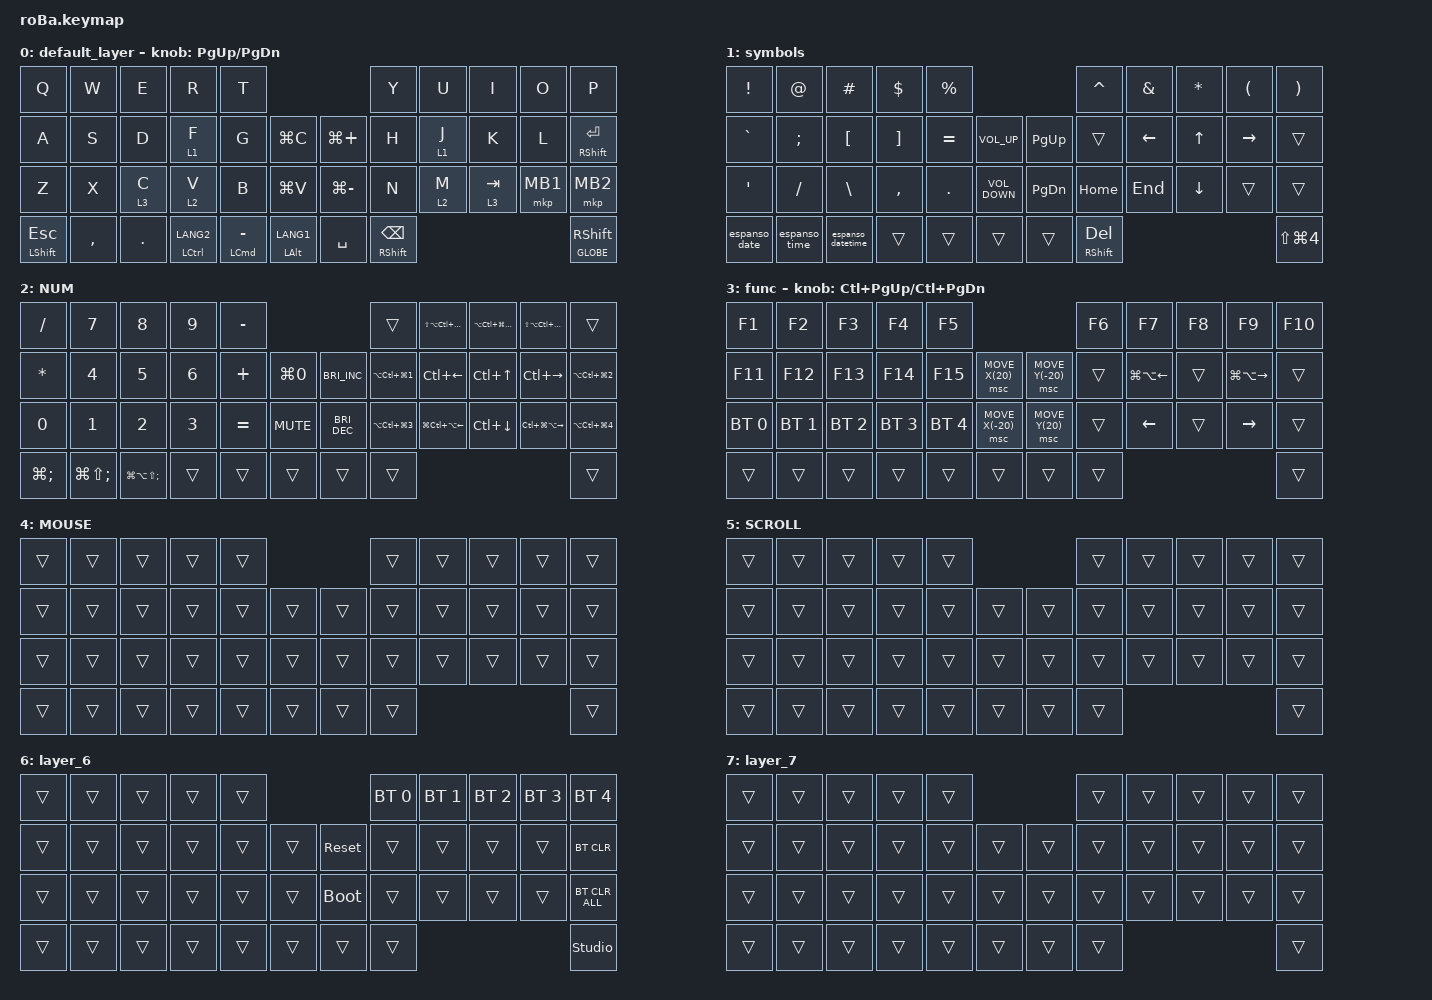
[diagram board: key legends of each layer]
#include <behaviors.dtsi>
#include <dt-bindings/zmk/bt.h>
#include <dt-bindings/zmk/keys.h>
#include <dt-bindings/zmk/pointing.h>

&mt {
    flavor = "balanced";
    quick-tap-ms = <0>;
};

&trackball {
    // automouse-layer = <4>;

    scroll-layers = <3>;

    // arrows {
    //     layers = <3>;
    //     bindings =
    //         <&kp RIGHT_ARROW>,
    //         <&kp LEFT_ARROW>,
    //         <&kp UP_ARROW>,
    //         <&kp DOWN_ARROW>;
    //     tick = <10>;
    //     wait-ms = <5>;
    //     tap-ms = <5>;
    // };
};

/ {
    combos {
        compatible = "zmk,combos";

        reset_selected_bt {
            bindings = <&bt BT_CLR>;
            key-positions = <34 42>;
        };

        reset_size {
            bindings = <&kp LG(NUMBER_0)>;
            key-positions = <16 28>;
        };

        Layer_6 {
            bindings = <&mo 6>;
            key-positions = <34 35 36>;
        };

        Cut {
            bindings = <&kp LG(X)>;
            key-positions = <15 27>;
        };
    };

    macros {
        to_layer_0: to_layer_0 {
            compatible = "zmk,behavior-macro-one-param";
            #binding-cells = <1>;
            bindings = <&to 0 &macro_param_1to1 &kp MACRO_PLACEHOLDER>;
            label = "TO_LAYER_0";
        };

        espanso_date: espanso_date {
            compatible = "zmk,behavior-macro";
            #binding-cells = <0>;
            bindings = <&kp SEMI &kp D &kp SPACE>;
            label = "ESPANSO_DATE";
        };

        espanso_time: espanso_time {
            compatible = "zmk,behavior-macro";
            #binding-cells = <0>;
            bindings = <&none &kp SEMI &kp T &kp SPACE>;
            label = "ESPANSO_TIME";
        };

        espanso_datetime: espanso_datetime {
            compatible = "zmk,behavior-macro";
            #binding-cells = <0>;
            bindings = <&none &kp SEMI &kp D &kp T &kp SPACE>;
            label = "ESPANSO_DATETIME";
        };
    };

    behaviors {
        lt_to_layer_0: lt_to_layer_0 {
            compatible = "zmk,behavior-hold-tap";
            label = "LAYER_TAP_TO_0";
            bindings = <&mo>, <&to_layer_0>;

            #binding-cells = <2>;
            tapping-term-ms = <200>;
        };
    };

    keymap {
        compatible = "zmk,keymap";

        default_layer {
            bindings = <
&kp Q                  &kp W      &kp E       &kp R                   &kp T                                                          &kp Y                      &kp U    &kp I      &kp O     &kp P
&kp A                  &kp S      &kp D       &lt 1 F                 &kp G                   &kp LG(C)               &kp LG(PLUS)   &kp H                      &lt 1 J  &kp K      &kp L     &mt RIGHT_SHIFT ENTER
&kp Z                  &kp X      &lt 3 C     &lt 2 V                 &kp B                   &kp LG(V)               &kp LG(MINUS)  &kp N                      &lt 2 M  &lt 3 TAB  &mkp MB1  &mkp MB2
&mt LEFT_SHIFT ESCAPE  &kp COMMA  &kp PERIOD  &mt LEFT_CONTROL LANG2  &mt LEFT_COMMAND MINUS  &mt LEFT_ALT LANG1      &kp SPACE      &mt RIGHT_SHIFT BACKSPACE                                &mt GLOBE RIGHT_SHIFT
            >;

            sensor-bindings = <&inc_dec_kp PG_UP PAGE_DOWN>;
        };

        symbols {
            bindings = <
&kp EXCLAMATION  &kp AT_SIGN    &kp HASH           &kp DOLLAR         &kp PERCENT                                        &kp CARET               &kp AMPERSAND   &kp ASTERISK    &kp LEFT_PARENTHESIS  &kp RIGHT_PARENTHESIS
&kp GRAVE        &kp SEMICOLON  &kp LEFT_BRACKET   &kp RIGHT_BRACKET  &kp EQUAL    &kp K_VOLUME_UP        &kp PAGE_UP    &trans                  &kp LEFT_ARROW  &kp UP_ARROW    &kp RIGHT_ARROW       &trans
&kp SQT          &kp SLASH      &kp BACKSLASH      &kp COMMA          &kp PERIOD   &kp K_VOLUME_DOWN      &kp PAGE_DOWN  &kp HOME                &kp END         &kp DOWN_ARROW  &trans                &trans
&espanso_date    &espanso_time  &espanso_datetime  &trans             &trans       &trans                 &trans         &mt RIGHT_SHIFT DELETE                                                        &kp LS(LG(NUMBER_4))
            >;
        };

        NUM {
            bindings = <
&kp SLASH          &kp NUMBER_7      &kp NUMBER_8          &kp NUMBER_9  &kp MINUS                                              &trans                    &kp LS(LA(LC(LG(LEFT))))  &kp LA(LC(LG(LS(UP))))  &kp LS(LA(LC(LG(RIGHT))))  &trans
&kp ASTERISK       &kp NUMBER_4      &kp NUMBER_5          &kp NUMBER_6  &kp PLUS   &kp LG(NUMBER_0)      &kp C_BRIGHTNESS_INC  &kp LA(LC(LG(NUMBER_1)))  &kp LC(LEFT_ARROW)        &kp LC(UP_ARROW)        &kp LC(RIGHT_ARROW)        &kp LA(LC(LG(NUMBER_2)))
&kp NUMBER_0       &kp NUMBER_1      &kp NUMBER_2          &kp NUMBER_3  &kp EQUAL  &kp C_MUTE            &kp C_BRIGHTNESS_DEC  &kp LA(LC(LG(NUMBER_3)))  &kp LG(LC(LA(LEFT)))      &kp LC(DOWN_ARROW)      &kp LC(LG(LA(RIGHT)))      &kp LA(LC(LG(NUMBER_4)))
&kp LG(SEMICOLON)  &kp LG(LS(SEMI))  &kp LG(LA(LS(SEMI)))  &trans        &trans     &trans                &trans                &trans                                                                                                 &trans
            >;
        };

        func {
            bindings = <
&kp F1        &kp F2        &kp F3        &kp F4        &kp F5                                                &kp F6  &kp F7                  &kp F8  &kp F9                   &kp F10
&kp F11       &kp F12       &kp F13       &kp F14       &kp F15       &msc MOVE_X(20)       &msc MOVE_Y(-20)  &trans  &kp LG(LA(LEFT_ARROW))  &trans  &kp LG(LA(RIGHT_ARROW))  &trans
&bt BT_SEL 0  &bt BT_SEL 1  &bt BT_SEL 2  &bt BT_SEL 3  &bt BT_SEL 4  &msc MOVE_X(-20)      &msc MOVE_Y(20)   &trans  &kp LEFT_ARROW          &trans  &kp RIGHT                &trans
&trans        &trans        &trans        &trans        &trans        &trans                &trans            &trans                                                           &trans
            >;

            sensor-bindings = <&inc_dec_kp LC(PAGE_UP) LC(PAGE_DOWN)>;
        };

        MOUSE {
            bindings = <
&trans  &trans  &trans  &trans  &trans                      &trans  &trans  &trans  &trans  &trans
&trans  &trans  &trans  &trans  &trans  &trans      &trans  &trans  &trans  &trans  &trans  &trans
&trans  &trans  &trans  &trans  &trans  &trans      &trans  &trans  &trans  &trans  &trans  &trans
&trans  &trans  &trans  &trans  &trans  &trans      &trans  &trans                          &trans
            >;
        };

        SCROLL {
            bindings = <
&trans  &trans  &trans  &trans  &trans                      &trans  &trans  &trans  &trans  &trans
&trans  &trans  &trans  &trans  &trans  &trans      &trans  &trans  &trans  &trans  &trans  &trans
&trans  &trans  &trans  &trans  &trans  &trans      &trans  &trans  &trans  &trans  &trans  &trans
&trans  &trans  &trans  &trans  &trans  &trans      &trans  &trans                          &trans
            >;
        };

        layer_6 {
            bindings = <
&trans  &trans  &trans  &trans  &trans                           &bt BT_SEL 0  &bt BT_SEL 1  &bt BT_SEL 2  &bt BT_SEL 3  &bt BT_SEL 4
&trans  &trans  &trans  &trans  &trans  &trans      &sys_reset   &trans        &trans        &trans        &trans        &bt BT_CLR
&trans  &trans  &trans  &trans  &trans  &trans      &bootloader  &trans        &trans        &trans        &trans        &bt BT_CLR_ALL
&trans  &trans  &trans  &trans  &trans  &trans      &trans       &trans                                                  &studio_unlock
            >;
        };

        layer_7 {
            bindings = <
&trans  &trans  &trans  &trans  &trans                      &trans  &trans  &trans  &trans  &trans
&trans  &trans  &trans  &trans  &trans  &trans      &trans  &trans  &trans  &trans  &trans  &trans
&trans  &trans  &trans  &trans  &trans  &trans      &trans  &trans  &trans  &trans  &trans  &trans
&trans  &trans  &trans  &trans  &trans  &trans      &trans  &trans                          &trans
            >;
        };
    };
};
